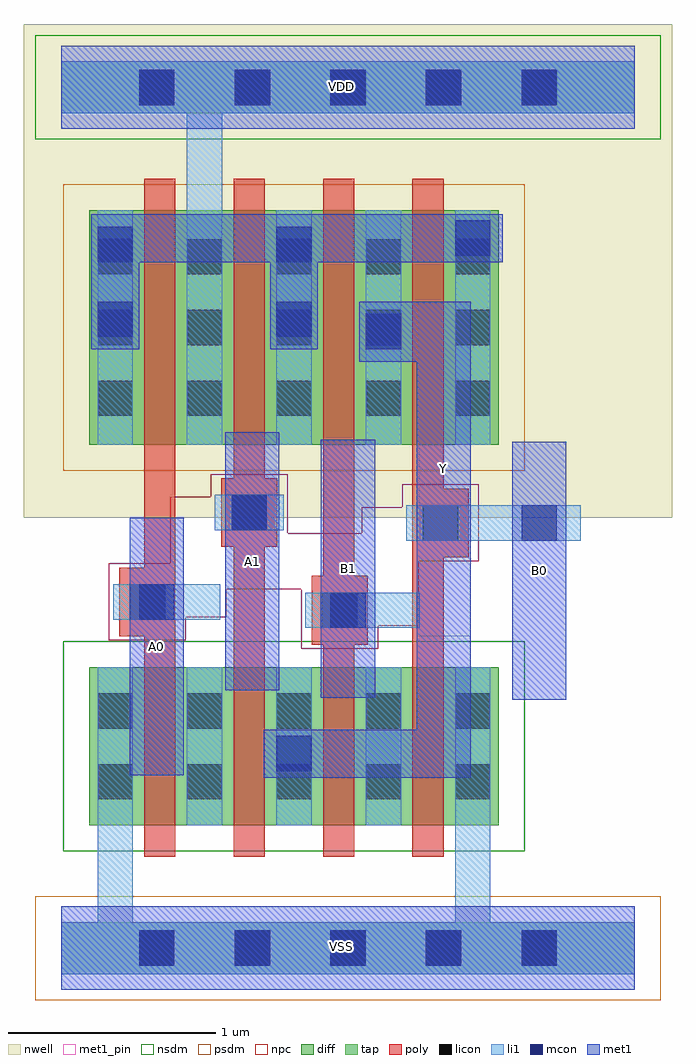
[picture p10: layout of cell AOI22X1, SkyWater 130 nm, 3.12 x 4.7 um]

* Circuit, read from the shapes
.subckt AOI22X1 A0 A1 B0 B1 VDD VSS Y
XM1 n1 A0 VSS VSS sky130_fd_pr__nfet_01v8 w=0.76 l=0.15
XM2 Y A1 n1 VSS sky130_fd_pr__nfet_01v8 w=0.76 l=0.15
XM3 n2 B1 Y VSS sky130_fd_pr__nfet_01v8 w=0.76 l=0.15
XM4 VSS B0 n2 VSS sky130_fd_pr__nfet_01v8 w=0.76 l=0.15
XM5 VDD A0 n3 VDD sky130_fd_pr__pfet_01v8 w=1.13 l=0.15
XM6 n3 A1 VDD VDD sky130_fd_pr__pfet_01v8 w=1.13 l=0.15
XM7 Y B1 n3 VDD sky130_fd_pr__pfet_01v8 w=1.13 l=0.15
XM8 n3 B0 Y VDD sky130_fd_pr__pfet_01v8 w=1.13 l=0.15
.ends

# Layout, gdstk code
import gdstk
lib = gdstk.Library(unit=1e-6, precision=1e-09)
def R(c, l, rs):  # rectangles x0, y0, x1, y1
    for r in rs: c.add(gdstk.rectangle(r[:2], r[2:], *l))
def A(c, l, x, y, w, h, nx, ny, dx, dy):  # array of equal rectangles
    R(c, l, [(x+i*dx, y+j*dy, x+i*dx+w, y+j*dy+h) for i in range(nx) for j in range(ny)])
nwell = (64, 20)
diff = (65, 20)
tap = (65, 44)
poly = (66, 20)
licon = (66, 44)
li1 = (67, 20)
mcon = (67, 44)
met1_pin = (68, 16)
met1 = (68, 20)
nsdm = (93, 44)
psdm = (94, 20)
npc = (95, 20)

aoi22x1 = lib.new_cell('AOI22X1')
R(aoi22x1, nwell, [(-0.18,2.07,2.94,4.445)])
R(aoi22x1, diff, [(0.135,0.59,2.105,1.35), (0.135,2.42,2.105,3.55)])
R(aoi22x1, tap, [(0,-0.125,2.76,0.125), (0,4.015,2.76,4.265)])
R(aoi22x1, poly, [(0.4,0.44,0.55,1.5), (0.83,0.44,0.98,1.93), (1.26,0.44,1.41,1.46), (1.69,0.44,1.84,1.88), (1.205,1.46,1.475,1.79), (0.28,1.5,0.55,1.83), (1.26,1.79,1.41,3.7), (0.4,1.83,0.55,3.7), (1.69,1.88,1.96,2.21), (0.77,1.93,1.04,2.26), (1.69,2.21,1.84,3.7), (0.83,2.26,0.98,3.7)])
A(aoi22x1, licon, 0.375, -0.085, 0.17, 0.17, 5, 2, 0.46, 4.14)
A(aoi22x1, licon, 0.175, 0.715, 0.17, 0.17, 5, 2, 0.43, 0.34)
A(aoi22x1, licon, 0.175, 2.56, 0.17, 0.17, 5, 3, 0.43, 0.34)
R(aoi22x1, licon, [(1.255,1.54,1.425,1.71), (0.33,1.58,0.5,1.75), (1.74,1.96,1.91,2.13), (0.82,2.01,0.99,2.18)])
A(aoi22x1, li1, 0.605, 0.59, 0.17, 0.76, 3, 1, 0.43, 0)
A(aoi22x1, li1, 1.035, 2.42, 0.17, 1.13, 3, 1, 0.43, 0)
R(aoi22x1, li1, [(0,-0.125,2.76,0.125), (0.175,0.125,0.345,1.35), (1.895,0.125,2.065,1.35), (1.175,1.54,1.725,1.71), (0.25,1.58,0.765,1.75), (1.66,1.96,2.5,2.13), (0.74,2.01,1.07,2.18), (0.175,2.42,0.345,3.55), (0.605,2.42,0.775,4.015), (0,4.015,2.76,4.265)])
A(aoi22x1, mcon, 0.375, -0.085, 0.17, 0.17, 5, 2, 0.46, 4.14)
R(aoi22x1, mcon, [(1.035,0.85,1.205,1.02), (1.295,1.54,1.465,1.71), (0.375,1.58,0.545,1.75), (2.215,1.96,2.385,2.13), (0.82,2.01,0.99,2.18), (1.465,2.88,1.635,3.05), (0.175,2.94,0.345,3.11), (1.035,2.94,1.205,3.11), (0.175,3.3,0.345,3.47), (1.035,3.3,1.205,3.47), (1.895,3.33,2.065,3.5)])
R(aoi22x1, met1_pin, [(0.33,0.83,0.59,2.07), (2.17,1.195,2.43,2.435), (1.25,1.205,1.51,2.445), (0.79,1.24,1.05,2.48), (1.71,1.5,1.97,3.11)])
R(aoi22x1, met1, [(0,-0.2,2.76,0.2), (0.975,0.82,1.97,1.05), (0.33,0.83,0.59,2.07), (1.71,1.05,1.97,2.82), (2.17,1.195,2.43,2.435), (1.25,1.205,1.51,2.445), (0.79,1.24,1.05,2.48), (1.435,2.82,1.97,3.11), (0.145,2.88,0.375,3.3), (1.005,2.88,1.235,3.3), (0.145,3.3,2.125,3.53), (0,3.94,2.76,4.34)])
R(aoi22x1, nsdm, [(0.01,0.465,2.23,1.475), (-0.125,3.89,2.885,4.39)])
R(aoi22x1, psdm, [(-0.125,-0.25,2.885,0.25), (0.01,2.295,2.23,3.675)])
R(aoi22x1, npc, [(1.155,1.44,1.525,1.55), (0.23,1.48,0.6,1.59), (1.155,1.55,1.72,1.725), (0.23,1.59,0.795,1.725), (0.23,1.725,1.72,1.85), (0.525,1.85,1.72,1.86), (0.525,1.86,2.01,1.995), (0.525,1.995,1.09,2.17), (1.445,1.995,2.01,2.12), (1.64,2.12,2.01,2.23), (0.72,2.17,1.09,2.28)])
aoi22x1.add(gdstk.Label('VSS', (1.35,0.005), layer=68, texttype=5))
aoi22x1.add(gdstk.Label('VDD', (1.35,4.145), layer=68, texttype=5))
aoi22x1.add(gdstk.Label('B0', (2.3,1.815), layer=68, texttype=5))
aoi22x1.add(gdstk.Label('B1', (1.38,1.825), layer=68, texttype=5))
aoi22x1.add(gdstk.Label('A0', (0.46,1.45), layer=68, texttype=5))
aoi22x1.add(gdstk.Label('A1', (0.92,1.86), layer=68, texttype=5))
aoi22x1.add(gdstk.Label('Y', (1.84,2.305), layer=68, texttype=5))

lib.write_gds('AOI22X1.gds')
